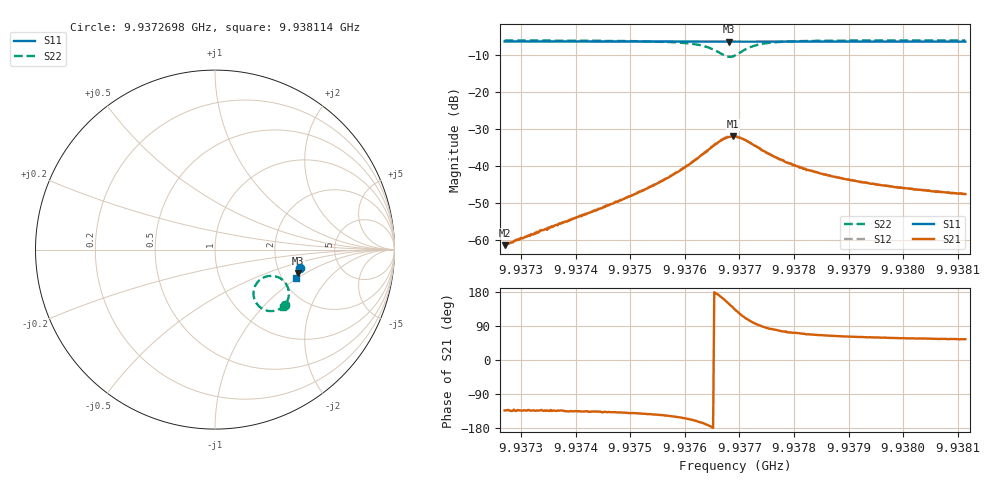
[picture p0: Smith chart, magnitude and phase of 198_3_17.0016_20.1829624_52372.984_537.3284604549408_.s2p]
#  HZ  S  RI  R  50.00
! Rohde & Schwarz Vector Network Analyzer
! Rohde-Schwarz,ZNB20-2Port,1311601062101988,3.16
! Created: UTC 3/20/2024, 11:00:57 PM
! freq[Hz]  re:S11  im:S11  re:S21  im:S21  re:S12  im:S12  re:S22  im:S22
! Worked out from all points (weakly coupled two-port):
!   401 points, 9.9372698 GHz to 9.938114 GHz, reference 50 ohm
!   highest |S21| = -32.03 dB at 9.9376877 GHz (marker M1); lowest = -61.5 dB at 9.9372698 GHz (marker M2)
!   lowest |S11| = -6.4 dB at 9.9376814 GHz (marker M3), VSWR 2.84, Z = 125 - j42.4 ohm
!   |S11| at or under -10 dB: nowhere
!   |S22| runs from -10.5 to -6.1 dB; largest |S21 - S12| = 0.0012
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9.93726982e9  0.4721 -0.1047  -0.000575 -0.000613  -0.000577 -0.000576  0.3905 -0.3084
9.93733314e9  0.4709 -0.109  -0.00088 -0.000922  -0.000909 -0.000933  0.385 -0.3139
9.93741123e9  0.4693 -0.1141  -0.00149 -0.00145  -0.00156 -0.0015  0.3755 -0.3213
9.93749143e9  0.4675 -0.1196  -0.00279 -0.00238  -0.00282 -0.00233  0.3608 -0.3307
9.93755264e9  0.4659 -0.1237  -0.00484 -0.00341  -0.005 -0.00339  0.3397 -0.3392
9.93759063e9  0.4649 -0.1263  -0.00752 -0.00411  -0.00775 -0.00404  0.3153 -0.3428
9.93763495e9  0.463 -0.1295  -0.0144 -0.00321  -0.0147 -0.00293  0.2598 -0.3271
9.93764972e9  0.4622 -0.13  -0.018 -0.000717  -0.0183 -0.000311  0.234 -0.3032
9.9376645e9  0.4613 -0.1306  -0.0211 0.00439  -0.0215 0.00504  0.2154 -0.258
9.93768138e9  0.4608 -0.1306  -0.0208 0.0133  -0.0206 0.0141  0.2324 -0.188
9.93768771e9  0.461 -0.1306  -0.019 0.0163  -0.0185 0.0174  0.253 -0.1665
9.93769193e9  0.4609 -0.1307  -0.017 0.0181  -0.0166 0.0189  0.2695 -0.156
9.93770249e9  0.4612 -0.131  -0.0119 0.0205  -0.0113 0.021  0.3141 -0.1462
9.93771726e9  0.4617 -0.1318  -0.00536 0.0202  -0.00479 0.0204  0.3634 -0.16
9.93774048e9  0.462 -0.1336  0.000158 0.0165  0.00067 0.0166  0.3999 -0.1985
9.9377658e9  0.4616 -0.1357  0.00229 0.0129  0.00273 0.0129  0.4106 -0.2313
9.93778691e9  0.4612 -0.1372  0.00323 0.0106  0.00329 0.0108  0.4116 -0.2504
9.93783334e9  0.4602 -0.1405  0.00333 0.00783  0.00347 0.00779  0.4069 -0.2753
9.93789877e9  0.4587 -0.145  0.00307 0.00573  0.00319 0.00572  0.3992 -0.2946
9.93797475e9  0.4567 -0.1501  0.00277 0.00447  0.00285 0.00452  0.3912 -0.3075
9.93805706e9  0.4548 -0.1554  0.00252 0.00371  0.00261 0.00374  0.3842 -0.317
9.93811404e9  0.4531 -0.1591  0.00238 0.00339  0.00246 0.00337  0.38 -0.3222
